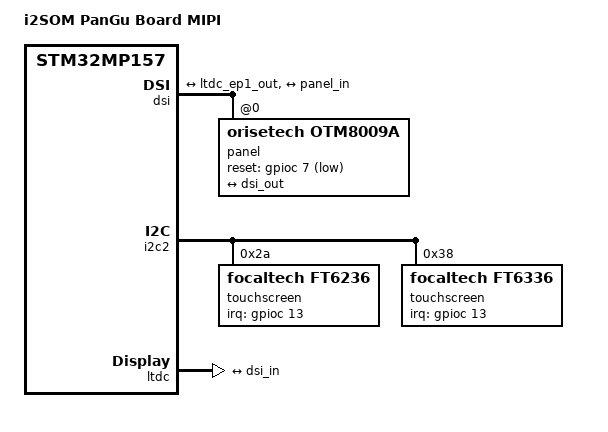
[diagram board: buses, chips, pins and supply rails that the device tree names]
// SPDX-License-Identifier: (GPL-2.0+ OR BSD-3-Clause)
/*
 * Copyright (C) i2SOM 2018 - All Rights Reserved
 * Author: Steve Chen <steve.chen@i2som.tech>.
 */

/dts-v1/;

#include "stm32mp157a-panguboard.dts"
#include <dt-bindings/rtc/rtc-stm32.h>

/ {
	model = "i2SOM PanGu Board MIPI";
	compatible = "i2som,pangu", "st,stm32mp157";
};

&dsi {
	#address-cells = <1>;
	#size-cells = <0>;
	status = "okay";

	ports {
		#address-cells = <1>;
		#size-cells = <0>;

		port@0 {
			reg = <0>;
			dsi_in: endpoint {
				remote-endpoint = <&ltdc_ep1_out>;
			};
		};

		port@1 {
			reg = <1>;
			dsi_out: endpoint {
				remote-endpoint = <&panel_in>;
			};
		};
	};

	panel@0 {
		compatible = "orisetech,otm8009a";
		reg = <0>;
		reset-gpios = <&gpioc 7 GPIO_ACTIVE_LOW>;
		status = "okay";

		port {
			panel_in: endpoint {
				remote-endpoint = <&dsi_out>;
			};
		};
	};
};

&i2c2 {
	touchscreen@2a {
		compatible = "focaltech,ft6236";
		reg = <0x2a>;
		interrupts = <13 2>;
		interrupt-parent = <&gpioc>;
		interrupt-controller;
		touchscreen-size-x = <480>;
		touchscreen-size-y = <800>;
		status = "okay";
	};

	touchscreen@38 {
		compatible = "focaltech,ft6336";
		reg = <0x38>;
		interrupts = <13 2>;
		interrupt-parent = <&gpioc>;
		interrupt-controller;
		touchscreen-size-x = <480>;
		touchscreen-size-y = <800>;
		status = "okay";
	};
};

&ltdc {
	status = "okay";

	port {
		#address-cells = <1>;
		#size-cells = <0>;

		ltdc_ep1_out: endpoint@2 {
			reg = <2>;
			remote-endpoint = <&dsi_in>;
		};
	};
};
